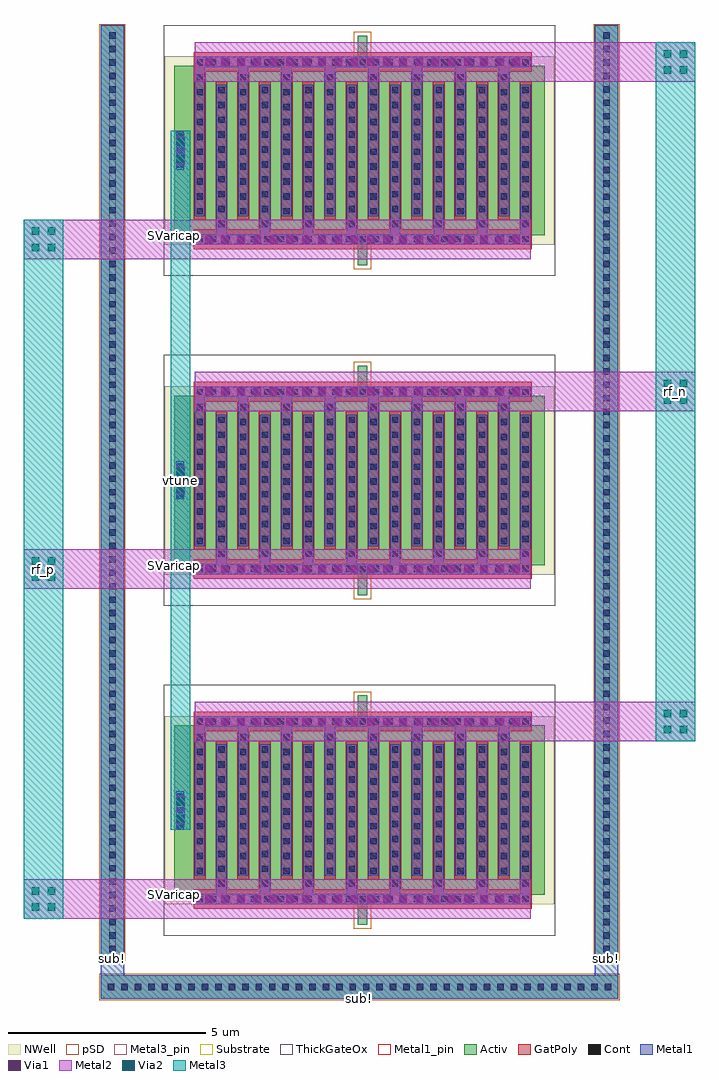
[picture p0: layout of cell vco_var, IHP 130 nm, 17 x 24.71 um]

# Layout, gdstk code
import gdstk
lib = gdstk.Library(unit=1e-6, precision=1e-09)
def R(c, l, rs):  # rectangles x0, y0, x1, y1
    for r in rs: c.add(gdstk.rectangle(r[:2], r[2:], *l))
def A(c, l, x, y, w, h, nx, ny, dx, dy):  # array of equal rectangles
    R(c, l, [(x+i*dx, y+j*dy, x+i*dx+w, y+j*dy+h) for i in range(nx) for j in range(ny)])
def P(c, l, *ps):  # polygons
    for p in ps: c.add(gdstk.Polygon(p, *l))
Activ = (1, 0)
GatPoly = (5, 0)
Cont = (6, 0)
Metal1 = (8, 0)
Metal1_pin = (8, 2)
Metal2 = (10, 0)
pSD = (14, 0)
Via1 = (19, 0)
Via2 = (29, 0)
Metal3 = (30, 0)
Metal3_pin = (30, 2)
NWell = (31, 0)
Substrate = (40, 0)
ThickGateOx = (44, 0)

vco_var = lib.new_cell('vco_var')
A(vco_var, Activ, 0.24, 0.24, 9.37, 4.29, 1, 3, 0, 8.35)
R(vco_var, Activ, [(-1.63,-2.39,11.48,-1.79), (-1.63,-1.39,-1.03,22.26), (10.88,-1.39,11.48,22.26), (4.885,-0.52,5.125,0.24), (4.885,4.53,5.125,5.29), (4.885,7.83,5.125,8.59), (4.885,12.88,5.125,13.64), (4.885,16.18,5.125,16.94), (4.885,21.23,5.125,21.99)])
A(vco_var, GatPoly, 1.28, 0.39, 0.3, 3.74, 8, 3, 1.1, 8.35)
A(vco_var, GatPoly, 0.73, 0.64, 0.3, 3.74, 8, 3, 1.1, 8.35)
R(vco_var, GatPoly, [(0.73,-0.11,9.28,0.39), (0.73,4.38,9.28,4.88), (0.73,8.24,9.28,8.74), (0.73,12.73,9.28,13.23), (0.73,16.59,9.28,17.09), (0.73,21.08,9.28,21.58)])
A(vco_var, Cont, -1.445, -2.17, 0.16, 0.16, 38, 1, 0.34, 0)
A(vco_var, Cont, -1.41, -1.205, 0.16, 0.16, 1, 69, 0, 0.34)
A(vco_var, Cont, 11.1, -1.205, 0.16, 0.16, 1, 69, 0, 0.34)
A(vco_var, Cont, 1.14, 0.06, 0.16, 0.16, 4, 2, 0.345, 4.49)
A(vco_var, Cont, 2.515, 0.06, 0.16, 0.16, 4, 2, 0.345, 4.49)
A(vco_var, Cont, 3.89, 0.06, 0.16, 0.16, 4, 2, 0.345, 4.49)
A(vco_var, Cont, 5.265, 0.06, 0.16, 0.16, 4, 2, 0.345, 4.49)
A(vco_var, Cont, 6.64, 0.06, 0.16, 0.16, 4, 2, 0.345, 4.49)
A(vco_var, Cont, 8.015, 0.06, 0.16, 0.16, 4, 2, 0.345, 4.49)
A(vco_var, Cont, 1.35, 0.45, 0.16, 0.16, 8, 3, 1.1, 0.375)
A(vco_var, Cont, 0.8, 0.77, 0.16, 0.16, 8, 3, 1.1, 0.375)
A(vco_var, Cont, 1.35, 1.58, 0.16, 0.16, 8, 3, 1.1, 0.375)
A(vco_var, Cont, 0.8, 1.9, 0.16, 0.16, 8, 3, 1.1, 0.375)
A(vco_var, Cont, 0.31, 1.955, 0.16, 0.16, 1, 3, 0, 0.35)
A(vco_var, Cont, 1.35, 2.71, 0.16, 0.16, 8, 3, 1.1, 0.375)
A(vco_var, Cont, 0.8, 3.03, 0.16, 0.16, 8, 3, 1.1, 0.375)
A(vco_var, Cont, 1.35, 3.84, 0.16, 0.16, 8, 2, 1.1, 4.96)
A(vco_var, Cont, 0.8, 4.16, 0.16, 0.16, 8, 2, 1.1, 4.96)
A(vco_var, Cont, 1.14, 8.41, 0.16, 0.16, 4, 2, 0.345, 4.49)
A(vco_var, Cont, 2.515, 8.41, 0.16, 0.16, 4, 2, 0.345, 4.49)
A(vco_var, Cont, 3.89, 8.41, 0.16, 0.16, 4, 2, 0.345, 4.49)
A(vco_var, Cont, 5.265, 8.41, 0.16, 0.16, 4, 2, 0.345, 4.49)
A(vco_var, Cont, 6.64, 8.41, 0.16, 0.16, 4, 2, 0.345, 4.49)
A(vco_var, Cont, 8.015, 8.41, 0.16, 0.16, 4, 2, 0.345, 4.49)
A(vco_var, Cont, 1.35, 9.175, 0.16, 0.16, 8, 2, 1.1, 0.375)
A(vco_var, Cont, 0.8, 9.495, 0.16, 0.16, 8, 2, 1.1, 0.375)
A(vco_var, Cont, 1.35, 9.93, 0.16, 0.16, 8, 3, 1.1, 0.375)
A(vco_var, Cont, 0.8, 10.25, 0.16, 0.16, 8, 3, 1.1, 0.375)
A(vco_var, Cont, 0.31, 10.305, 0.16, 0.16, 1, 3, 0, 0.35)
A(vco_var, Cont, 1.35, 11.06, 0.16, 0.16, 8, 3, 1.1, 0.375)
A(vco_var, Cont, 0.8, 11.38, 0.16, 0.16, 8, 3, 1.1, 0.375)
A(vco_var, Cont, 1.35, 12.19, 0.16, 0.16, 8, 2, 1.1, 4.96)
A(vco_var, Cont, 0.8, 12.51, 0.16, 0.16, 8, 2, 1.1, 4.96)
A(vco_var, Cont, 1.14, 16.76, 0.16, 0.16, 4, 2, 0.345, 4.49)
A(vco_var, Cont, 2.515, 16.76, 0.16, 0.16, 4, 2, 0.345, 4.49)
A(vco_var, Cont, 3.89, 16.76, 0.16, 0.16, 4, 2, 0.345, 4.49)
A(vco_var, Cont, 5.265, 16.76, 0.16, 0.16, 4, 2, 0.345, 4.49)
A(vco_var, Cont, 6.64, 16.76, 0.16, 0.16, 4, 2, 0.345, 4.49)
A(vco_var, Cont, 8.015, 16.76, 0.16, 0.16, 4, 2, 0.345, 4.49)
A(vco_var, Cont, 1.35, 17.525, 0.16, 0.16, 8, 2, 1.1, 0.375)
A(vco_var, Cont, 0.8, 17.845, 0.16, 0.16, 8, 2, 1.1, 0.375)
A(vco_var, Cont, 1.35, 18.28, 0.16, 0.16, 8, 3, 1.1, 0.375)
A(vco_var, Cont, 0.8, 18.6, 0.16, 0.16, 8, 3, 1.1, 0.375)
A(vco_var, Cont, 0.31, 18.655, 0.16, 0.16, 1, 3, 0, 0.35)
A(vco_var, Cont, 1.35, 19.41, 0.16, 0.16, 8, 3, 1.1, 0.375)
A(vco_var, Cont, 0.8, 19.73, 0.16, 0.16, 8, 3, 1.1, 0.375)
A(vco_var, Cont, 1.35, 20.54, 0.16, 0.16, 8, 1, 1.1, 0)
A(vco_var, Cont, 0.8, 20.86, 0.16, 0.16, 8, 1, 1.1, 0)
R(vco_var, Cont, [(0.8,0.06,0.96,0.22), (0.8,4.55,0.96,4.71), (0.8,8.41,0.96,8.57), (0.8,12.9,0.96,13.06), (0.8,16.76,0.96,16.92), (0.8,21.25,0.96,21.41)])
P(vco_var, Metal1, [(0.29,1.905),(0.29,2.035),(0.285,2.035),(0.285,2.735),(0.29,2.735),(0.29,2.865),(0.49,2.865),(0.49,2.735),(0.495,2.735),(0.495,2.035),(0.49,2.035),(0.49,1.905)],
  [(0.75,0.01),(0.75,0.27),(1.3,0.27),(1.3,4.05),(1.56,4.05),(1.56,0.27),(2.4,0.27),(2.4,4.05),(2.66,4.05),(2.66,0.27),(3.5,0.27),(3.5,4.05),(3.76,4.05),(3.76,0.27),(4.6,0.27),(4.6,4.05),(4.86,4.05),(4.86,0.27),(5.7,0.27),(5.7,4.05),(5.96,4.05),(5.96,0.27),(6.8,0.27),(6.8,4.05),(7.06,4.05),(7.06,0.27),(7.9,0.27),(7.9,4.05),(8.16,4.05),(8.16,0.27),(9,0.27),(9,4.05),(9.26,4.05),(9.26,0.01)],
  [(0.75,0.72),(0.75,4.76),(9.26,4.76),(9.26,4.5),(8.71,4.5),(8.71,0.72),(8.45,0.72),(8.45,4.5),(7.61,4.5),(7.61,0.72),(7.35,0.72),(7.35,4.5),(6.51,4.5),(6.51,0.72),(6.25,0.72),(6.25,4.5),(5.41,4.5),(5.41,0.72),(5.15,0.72),(5.15,4.5),(4.31,4.5),(4.31,0.72),(4.05,0.72),(4.05,4.5),(3.21,4.5),(3.21,0.72),(2.95,0.72),(2.95,4.5),(2.11,4.5),(2.11,0.72),(1.85,0.72),(1.85,4.5),(1.01,4.5),(1.01,0.72)],
  [(0.29,10.255),(0.29,10.385),(0.285,10.385),(0.285,11.085),(0.29,11.085),(0.29,11.215),(0.49,11.215),(0.49,11.085),(0.495,11.085),(0.495,10.385),(0.49,10.385),(0.49,10.255)],
  [(0.75,8.36),(0.75,8.62),(1.3,8.62),(1.3,12.4),(1.56,12.4),(1.56,8.62),(2.4,8.62),(2.4,12.4),(2.66,12.4),(2.66,8.62),(3.5,8.62),(3.5,12.4),(3.76,12.4),(3.76,8.62),(4.6,8.62),(4.6,12.4),(4.86,12.4),(4.86,8.62),(5.7,8.62),(5.7,12.4),(5.96,12.4),(5.96,8.62),(6.8,8.62),(6.8,12.4),(7.06,12.4),(7.06,8.62),(7.9,8.62),(7.9,12.4),(8.16,12.4),(8.16,8.62),(9,8.62),(9,12.4),(9.26,12.4),(9.26,8.36)],
  [(0.75,9.07),(0.75,13.11),(9.26,13.11),(9.26,12.85),(8.71,12.85),(8.71,9.07),(8.45,9.07),(8.45,12.85),(7.61,12.85),(7.61,9.07),(7.35,9.07),(7.35,12.85),(6.51,12.85),(6.51,9.07),(6.25,9.07),(6.25,12.85),(5.41,12.85),(5.41,9.07),(5.15,9.07),(5.15,12.85),(4.31,12.85),(4.31,9.07),(4.05,9.07),(4.05,12.85),(3.21,12.85),(3.21,9.07),(2.95,9.07),(2.95,12.85),(2.11,12.85),(2.11,9.07),(1.85,9.07),(1.85,12.85),(1.01,12.85),(1.01,9.07)],
  [(0.29,18.605),(0.29,18.735),(0.285,18.735),(0.285,19.435),(0.29,19.435),(0.29,19.565),(0.49,19.565),(0.49,19.435),(0.495,19.435),(0.495,18.735),(0.49,18.735),(0.49,18.605)],
  [(0.75,16.71),(0.75,16.97),(1.3,16.97),(1.3,20.75),(1.56,20.75),(1.56,16.97),(2.4,16.97),(2.4,20.75),(2.66,20.75),(2.66,16.97),(3.5,16.97),(3.5,20.75),(3.76,20.75),(3.76,16.97),(4.6,16.97),(4.6,20.75),(4.86,20.75),(4.86,16.97),(5.7,16.97),(5.7,20.75),(5.96,20.75),(5.96,16.97),(6.8,16.97),(6.8,20.75),(7.06,20.75),(7.06,16.97),(7.9,16.97),(7.9,20.75),(8.16,20.75),(8.16,16.97),(9,16.97),(9,20.75),(9.26,20.75),(9.26,16.71)],
  [(0.75,17.42),(0.75,21.46),(9.26,21.46),(9.26,21.2),(8.71,21.2),(8.71,17.42),(8.45,17.42),(8.45,21.2),(7.61,21.2),(7.61,17.42),(7.35,17.42),(7.35,21.2),(6.51,21.2),(6.51,17.42),(6.25,17.42),(6.25,21.2),(5.41,21.2),(5.41,17.42),(5.15,17.42),(5.15,21.2),(4.31,21.2),(4.31,17.42),(4.05,17.42),(4.05,21.2),(3.21,21.2),(3.21,17.42),(2.95,17.42),(2.95,21.2),(2.11,21.2),(2.11,17.42),(1.85,17.42),(1.85,21.2),(1.01,21.2),(1.01,17.42)],
  [(-1.63,-2.39),(-1.63,22.26),(-1.03,22.26),(-1.03,-1.79),(10.88,-1.79),(10.88,22.26),(11.48,22.26),(11.48,-2.39)])
A(vco_var, Metal1_pin, 0.29, 1.915, 0.2, 0.94, 1, 3, 0, 8.35)
R(vco_var, Metal1_pin, [(-1.63,-2.39,11.48,-1.79), (-1.445,-2.17,11.295,-2.01), (-1.41,-1.205,-1.25,22.075), (11.1,-1.205,11.26,22.075), (0.75,0.01,9.26,0.27), (0.75,4.5,9.26,4.76), (0.75,8.36,9.26,8.62), (0.75,12.85,9.26,13.11), (0.75,16.71,9.26,16.97), (0.75,21.2,9.26,21.46)])
A(vco_var, Metal2, -3.575, -0.36, 12.835, 1, 1, 3, 0, 8.35)
A(vco_var, Metal2, 0.29, 2.02, 0.2, 0.73, 1, 3, 0, 8.35)
A(vco_var, Metal2, 0.75, 4.13, 12.675, 1, 1, 3, 0, 8.35)
R(vco_var, pSD, [(-1.66,-2.42,11.51,-1.76), (-1.66,-1.42,-1,22.29), (10.85,-1.42,11.51,22.29), (4.785,-0.62,5.225,0.14), (4.785,4.63,5.225,5.39), (4.785,7.73,5.225,8.49), (4.785,12.98,5.225,13.74), (4.785,16.08,5.225,16.84), (4.785,21.33,5.225,22.09)])
A(vco_var, Via1, 1.015, 0.045, 0.19, 0.19, 20, 2, 0.41, 4.49)
A(vco_var, Via1, 1.015, 8.395, 0.19, 0.19, 20, 2, 0.41, 4.49)
A(vco_var, Via1, 1.015, 16.745, 0.19, 0.19, 20, 2, 0.41, 4.49)
R(vco_var, Via1, [(0.295,2.085,0.485,2.275), (0.295,2.495,0.485,2.685), (0.295,10.435,0.485,10.625), (0.295,10.845,0.485,11.035), (0.295,18.785,0.485,18.975), (0.295,19.195,0.485,19.385)])
R(vco_var, Via2, [(-3.375,-0.16,-3.185,0.03), (-2.965,-0.16,-2.775,0.03), (-3.375,0.25,-3.185,0.44), (-2.965,0.25,-2.775,0.44), (0.295,2.085,0.485,2.275), (0.295,2.495,0.485,2.685), (12.625,4.33,12.815,4.52), (13.035,4.33,13.225,4.52), (12.625,4.74,12.815,4.93), (13.035,4.74,13.225,4.93), (-3.375,8.19,-3.185,8.38), (-2.965,8.19,-2.775,8.38), (-3.375,8.6,-3.185,8.79), (-2.965,8.6,-2.775,8.79), (0.295,10.435,0.485,10.625), (0.295,10.845,0.485,11.035), (12.625,12.68,12.815,12.87), (13.035,12.68,13.225,12.87), (12.625,13.09,12.815,13.28), (13.035,13.09,13.225,13.28), (-3.375,16.54,-3.185,16.73), (-2.965,16.54,-2.775,16.73), (-3.375,16.95,-3.185,17.14), (-2.965,16.95,-2.775,17.14), (0.295,18.785,0.485,18.975), (0.295,19.195,0.485,19.385), (12.625,21.03,12.815,21.22), (13.035,21.03,13.225,21.22), (12.625,21.44,12.815,21.63), (13.035,21.44,13.225,21.63)])
R(vco_var, Metal3, [(-3.575,-0.36,-2.575,17.34), (0.14,1.885,0.64,19.585), (12.425,4.13,13.425,21.83)])
R(vco_var, Metal3_pin, [(-3.575,-0.36,-2.575,17.34), (0.14,1.885,0.64,19.585), (12.425,4.13,13.425,21.83)])
A(vco_var, NWell, 0, 0, 9.85, 4.77, 1, 3, 0, 8.35)
R(vco_var, Substrate, [(-1.63,-2.39,11.48,-1.79), (-1.63,-1.39,-1.03,22.26), (10.88,-1.39,11.48,22.26)])
A(vco_var, ThickGateOx, -0.03, -0.79, 9.91, 6.35, 1, 3, 0, 8.35)
vco_var.add(gdstk.Label('SVaricap', (0.24,0.24), layer=63, texttype=0))
vco_var.add(gdstk.Label('SVaricap', (0.24,8.59), layer=63, texttype=0))
vco_var.add(gdstk.Label('SVaricap', (0.24,16.94), layer=63, texttype=0))
vco_var.add(gdstk.Label('sub!', (4.925,-2.38), layer=63, texttype=0))
vco_var.add(gdstk.Label('sub!', (-1.33,-1.38), layer=63, texttype=0))
vco_var.add(gdstk.Label('sub!', (11.18,-1.38), layer=63, texttype=0))
vco_var.add(gdstk.Label('rf_p', (-3.075,8.49), layer=30, texttype=25))
vco_var.add(gdstk.Label('rf_n', (12.925,12.98), layer=30, texttype=25))
vco_var.add(gdstk.Label('vtune', (0.39,10.735), layer=30, texttype=25))
vco_var.add(gdstk.Label('sub!', (4.925,-2.38), layer=40, texttype=0))
vco_var.add(gdstk.Label('sub!', (-1.33,-1.38), layer=40, texttype=0))
vco_var.add(gdstk.Label('sub!', (11.18,-1.38), layer=40, texttype=0))
vco_var.add(gdstk.Label('VSS', (4.925,-2.09), layer=8, texttype=25))

lib.write_gds('vco_var.gds')
